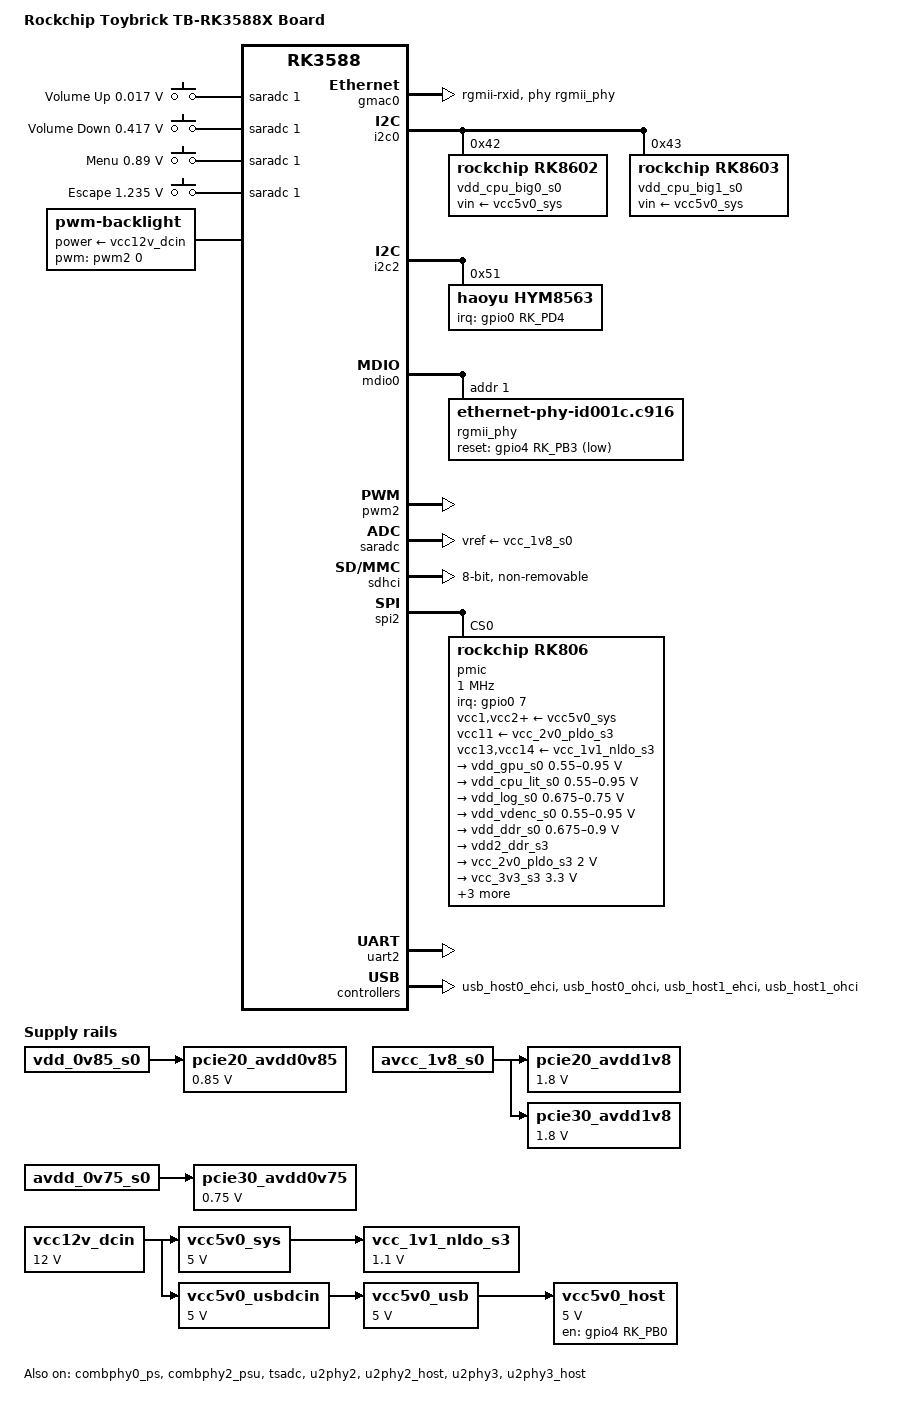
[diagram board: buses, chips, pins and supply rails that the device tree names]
// SPDX-License-Identifier: (GPL-2.0+ OR MIT)
/*
 * Copyright (c) 2024 Rockchip Electronics Co., Ltd.
 *
 */

/dts-v1/;

#include <dt-bindings/gpio/gpio.h>
#include <dt-bindings/input/input.h>
#include <dt-bindings/pinctrl/rockchip.h>
#include "rk3588.dtsi"

/ {
	model = "Rockchip Toybrick TB-RK3588X Board";
	compatible = "rockchip,rk3588-toybrick-x0", "rockchip,rk3588";

	aliases {
		mmc0 = &sdhci;
	};

	chosen {
		stdout-path = "serial2:1500000n8";
	};

	adc-keys {
		compatible = "adc-keys";
		io-channels = <&saradc 1>;
		io-channel-names = "buttons";
		keyup-threshold-microvolt = <1800000>;
		poll-interval = <100>;

		button-vol-up {
			label = "Volume Up";
			linux,code = <KEY_VOLUMEUP>;
			press-threshold-microvolt = <17000>;
		};

		button-vol-down {
			label = "Volume Down";
			linux,code = <KEY_VOLUMEDOWN>;
			press-threshold-microvolt = <417000>;
		};

		button-menu {
			label = "Menu";
			linux,code = <KEY_MENU>;
			press-threshold-microvolt = <890000>;
		};

		button-escape {
			label = "Escape";
			linux,code = <KEY_ESC>;
			press-threshold-microvolt = <1235000>;
		};
	};

	backlight: backlight {
		compatible = "pwm-backlight";
		power-supply = <&vcc12v_dcin>;
		pwms = <&pwm2 0 25000 0>;
	};

	pcie20_avdd0v85: regulator-pcie20-avdd0v85 {
		compatible = "regulator-fixed";
		regulator-name = "pcie20_avdd0v85";
		regulator-always-on;
		regulator-boot-on;
		regulator-min-microvolt = <850000>;
		regulator-max-microvolt = <850000>;
		vin-supply = <&vdd_0v85_s0>;
	};

	pcie20_avdd1v8: regulator-pcie20-avdd1v8 {
		compatible = "regulator-fixed";
		regulator-name = "pcie20_avdd1v8";
		regulator-always-on;
		regulator-boot-on;
		regulator-min-microvolt = <1800000>;
		regulator-max-microvolt = <1800000>;
		vin-supply = <&avcc_1v8_s0>;
	};

	pcie30_avdd0v75: regulator-pcie30-avdd0v75 {
		compatible = "regulator-fixed";
		regulator-name = "pcie30_avdd0v75";
		regulator-always-on;
		regulator-boot-on;
		regulator-min-microvolt = <750000>;
		regulator-max-microvolt = <750000>;
		vin-supply = <&avdd_0v75_s0>;
	};

	pcie30_avdd1v8: regulator-pcie30-avdd1v8 {
		compatible = "regulator-fixed";
		regulator-name = "pcie30_avdd1v8";
		regulator-always-on;
		regulator-boot-on;
		regulator-min-microvolt = <1800000>;
		regulator-max-microvolt = <1800000>;
		vin-supply = <&avcc_1v8_s0>;
	};

	vcc12v_dcin: regulator-vcc12v-dcin {
		compatible = "regulator-fixed";
		regulator-name = "vcc12v_dcin";
		regulator-always-on;
		regulator-boot-on;
		regulator-min-microvolt = <12000000>;
		regulator-max-microvolt = <12000000>;
	};

	vcc5v0_host: regulator-vcc5v0-host {
		compatible = "regulator-fixed";
		enable-active-high;
		gpio = <&gpio4 RK_PB0 GPIO_ACTIVE_HIGH>;
		pinctrl-names = "default";
		pinctrl-0 = <&vcc5v0_host_en>;
		regulator-name = "vcc5v0_host";
		regulator-boot-on;
		regulator-always-on;
		regulator-min-microvolt = <5000000>;
		regulator-max-microvolt = <5000000>;
		vin-supply = <&vcc5v0_usb>;
	};

	vcc5v0_sys: regulator-vcc5v0-sys {
		compatible = "regulator-fixed";
		regulator-name = "vcc5v0_sys";
		regulator-always-on;
		regulator-boot-on;
		regulator-min-microvolt = <5000000>;
		regulator-max-microvolt = <5000000>;
		vin-supply = <&vcc12v_dcin>;
	};

	vcc5v0_usbdcin: regulator-vcc5v0-usbdcin {
		compatible = "regulator-fixed";
		regulator-name = "vcc5v0_usbdcin";
		regulator-always-on;
		regulator-boot-on;
		regulator-min-microvolt = <5000000>;
		regulator-max-microvolt = <5000000>;
		vin-supply = <&vcc12v_dcin>;
	};

	vcc5v0_usb: regulator-vcc5v0-usb {
		compatible = "regulator-fixed";
		regulator-name = "vcc5v0_usb";
		regulator-always-on;
		regulator-boot-on;
		regulator-min-microvolt = <5000000>;
		regulator-max-microvolt = <5000000>;
		vin-supply = <&vcc5v0_usbdcin>;
	};

	vcc_1v1_nldo_s3: regulator-vcc-1v1-nldo-s3 {
		compatible = "regulator-fixed";
		regulator-name = "vcc_1v1_nldo_s3";
		regulator-always-on;
		regulator-boot-on;
		regulator-min-microvolt = <1100000>;
		regulator-max-microvolt = <1100000>;
		vin-supply = <&vcc5v0_sys>;
	};
};

&combphy0_ps {
	status = "okay";
};

&combphy2_psu {
	status = "okay";
};

&cpu_b0 {
	cpu-supply = <&vdd_cpu_big0_s0>;
};

&cpu_b1 {
	cpu-supply = <&vdd_cpu_big0_s0>;
};

&cpu_b2 {
	cpu-supply = <&vdd_cpu_big1_s0>;
};

&cpu_b3 {
	cpu-supply = <&vdd_cpu_big1_s0>;
};

&cpu_l0 {
	cpu-supply = <&vdd_cpu_lit_s0>;
};

&cpu_l1 {
	cpu-supply = <&vdd_cpu_lit_s0>;
};

&cpu_l2 {
	cpu-supply = <&vdd_cpu_lit_s0>;
};

&cpu_l3 {
	cpu-supply = <&vdd_cpu_lit_s0>;
};

&gmac0 {
	clock_in_out = "output";
	phy-handle = <&rgmii_phy>;
	phy-mode = "rgmii-rxid";
	pinctrl-0 = <&gmac0_miim
		     &gmac0_tx_bus2
		     &gmac0_rx_bus2
		     &gmac0_rgmii_clk
		     &gmac0_rgmii_bus>;
	pinctrl-names = "default";
	rx_delay = <0x00>;
	tx_delay = <0x43>;
	status = "okay";
};

&i2c0 {
	pinctrl-names = "default";
	pinctrl-0 = <&i2c0m2_xfer>;
	status = "okay";

	vdd_cpu_big0_s0: regulator@42 {
		compatible = "rockchip,rk8602";
		reg = <0x42>;
		fcs,suspend-voltage-selector = <1>;
		regulator-name = "vdd_cpu_big0_s0";
		regulator-always-on;
		regulator-boot-on;
		regulator-min-microvolt = <550000>;
		regulator-max-microvolt = <1050000>;
		regulator-ramp-delay = <2300>;
		vin-supply = <&vcc5v0_sys>;

		regulator-state-mem {
			regulator-off-in-suspend;
		};
	};

	vdd_cpu_big1_s0: regulator@43 {
		compatible = "rockchip,rk8603", "rockchip,rk8602";
		reg = <0x43>;
		fcs,suspend-voltage-selector = <1>;
		regulator-name = "vdd_cpu_big1_s0";
		regulator-always-on;
		regulator-boot-on;
		regulator-min-microvolt = <550000>;
		regulator-max-microvolt = <1050000>;
		regulator-ramp-delay = <2300>;
		vin-supply = <&vcc5v0_sys>;

		regulator-state-mem {
			regulator-off-in-suspend;
		};
	};
};

&i2c2 {
	status = "okay";

	hym8563: rtc@51 {
		compatible = "haoyu,hym8563";
		reg = <0x51>;
		#clock-cells = <0>;
		clock-output-names = "hym8563";
		interrupt-parent = <&gpio0>;
		interrupts = <RK_PD4 IRQ_TYPE_LEVEL_LOW>;
		pinctrl-names = "default";
		pinctrl-0 = <&hym8563_int>;
		wakeup-source;
	};
};

&mdio0 {
	rgmii_phy: ethernet-phy@1 {
		/* RTL8211F */
		compatible = "ethernet-phy-id001c.c916";
		reg = <0x1>;
		pinctrl-names = "default";
		pinctrl-0 = <&rtl8211f_rst>;
		reset-assert-us = <20000>;
		reset-deassert-us = <100000>;
		reset-gpios = <&gpio4 RK_PB3 GPIO_ACTIVE_LOW>;
	};
};

&pd_gpu {
	domain-supply = <&vdd_gpu_s0>;
};

&pinctrl {
	rtl8211f {
		rtl8211f_rst: rtl8211f-rst {
			rockchip,pins = <4 RK_PB3 RK_FUNC_GPIO &pcfg_pull_none>;
		};

	};

	hym8563 {
		hym8563_int: hym8563-int {
			rockchip,pins = <0 RK_PD4 RK_FUNC_GPIO &pcfg_pull_up>;
		};
	};

	usb {
		vcc5v0_host_en: vcc5v0-host-en {
			rockchip,pins = <4 RK_PB0 RK_FUNC_GPIO &pcfg_pull_none>;
		};
	};
};

&pwm2 {
	status = "okay";
};

&saradc {
	vref-supply = <&vcc_1v8_s0>;
	status = "okay";
};

&sdhci {
	bus-width = <8>;
	mmc-hs400-1_8v;
	mmc-hs400-enhanced-strobe;
	no-sdio;
	no-sd;
	non-removable;
	status = "okay";
};

&spi2 {
	assigned-clocks = <&cru CLK_SPI2>;
	assigned-clock-rates = <200000000>;
	num-cs = <1>;
	pinctrl-names = "default";
	pinctrl-0 = <&spi2m2_cs0 &spi2m2_pins>;
	status = "okay";

	pmic@0 {
		compatible = "rockchip,rk806";
		reg = <0x0>;
		gpio-controller;
		#gpio-cells = <2>;
		interrupt-parent = <&gpio0>;
		interrupts = <7 IRQ_TYPE_LEVEL_LOW>;
		pinctrl-names = "default";
		pinctrl-0 = <&pmic_pins>, <&rk806_dvs1_null>,
			    <&rk806_dvs2_null>, <&rk806_dvs3_null>;
		spi-max-frequency = <1000000>;
		system-power-controller;

		vcc1-supply = <&vcc5v0_sys>;
		vcc2-supply = <&vcc5v0_sys>;
		vcc3-supply = <&vcc5v0_sys>;
		vcc4-supply = <&vcc5v0_sys>;
		vcc5-supply = <&vcc5v0_sys>;
		vcc6-supply = <&vcc5v0_sys>;
		vcc7-supply = <&vcc5v0_sys>;
		vcc8-supply = <&vcc5v0_sys>;
		vcc9-supply = <&vcc5v0_sys>;
		vcc10-supply = <&vcc5v0_sys>;
		vcc11-supply = <&vcc_2v0_pldo_s3>;
		vcc12-supply = <&vcc5v0_sys>;
		vcc13-supply = <&vcc_1v1_nldo_s3>;
		vcc14-supply = <&vcc_1v1_nldo_s3>;
		vcca-supply = <&vcc5v0_sys>;

		rk806_dvs1_null: dvs1-null-pins {
			pins = "gpio_pwrctrl1";
			function = "pin_fun0";
		};

		rk806_dvs2_null: dvs2-null-pins {
			pins = "gpio_pwrctrl2";
			function = "pin_fun0";
		};

		rk806_dvs3_null: dvs3-null-pins {
			pins = "gpio_pwrctrl3";
			function = "pin_fun0";
		};

		regulators {
			vdd_gpu_s0: vdd_gpu_mem_s0: dcdc-reg1 {
				regulator-name = "vdd_gpu_s0";
				regulator-boot-on;
				regulator-enable-ramp-delay = <400>;
				regulator-min-microvolt = <550000>;
				regulator-max-microvolt = <950000>;
				regulator-ramp-delay = <12500>;

				regulator-state-mem {
					regulator-off-in-suspend;
				};
			};

			vdd_cpu_lit_s0: vdd_cpu_lit_mem_s0: dcdc-reg2 {
				regulator-name = "vdd_cpu_lit_s0";
				regulator-always-on;
				regulator-boot-on;
				regulator-min-microvolt = <550000>;
				regulator-max-microvolt = <950000>;
				regulator-ramp-delay = <12500>;

				regulator-state-mem {
					regulator-off-in-suspend;
				};
			};

			vdd_log_s0: dcdc-reg3 {
				regulator-name = "vdd_log_s0";
				regulator-always-on;
				regulator-boot-on;
				regulator-min-microvolt = <675000>;
				regulator-max-microvolt = <750000>;
				regulator-ramp-delay = <12500>;

				regulator-state-mem {
					regulator-off-in-suspend;
					regulator-suspend-microvolt = <750000>;
				};
			};

			vdd_vdenc_s0: vdd_vdenc_mem_s0: dcdc-reg4 {
				regulator-name = "vdd_vdenc_s0";
				regulator-always-on;
				regulator-boot-on;
				regulator-min-microvolt = <550000>;
				regulator-max-microvolt = <950000>;
				regulator-ramp-delay = <12500>;

				regulator-state-mem {
					regulator-off-in-suspend;
				};
			};

			vdd_ddr_s0: dcdc-reg5 {
				regulator-name = "vdd_ddr_s0";
				regulator-always-on;
				regulator-boot-on;
				regulator-min-microvolt = <675000>;
				regulator-max-microvolt = <900000>;
				regulator-ramp-delay = <12500>;

				regulator-state-mem {
					regulator-off-in-suspend;
					regulator-suspend-microvolt = <850000>;
				};
			};

			vdd2_ddr_s3: dcdc-reg6 {
				regulator-name = "vdd2_ddr_s3";
				regulator-always-on;
				regulator-boot-on;

				regulator-state-mem {
					regulator-on-in-suspend;
				};
			};

			vcc_2v0_pldo_s3: dcdc-reg7 {
				regulator-name = "vdd_2v0_pldo_s3";
				regulator-always-on;
				regulator-boot-on;
				regulator-min-microvolt = <2000000>;
				regulator-max-microvolt = <2000000>;

				regulator-state-mem {
					regulator-on-in-suspend;
					regulator-suspend-microvolt = <2000000>;
				};
			};

			vcc_3v3_s3: dcdc-reg8 {
				regulator-name = "vcc_3v3_s3";
				regulator-always-on;
				regulator-boot-on;
				regulator-min-microvolt = <3300000>;
				regulator-max-microvolt = <3300000>;

				regulator-state-mem {
					regulator-on-in-suspend;
					regulator-suspend-microvolt = <3300000>;
				};
			};

			vddq_ddr_s0: dcdc-reg9 {
				regulator-name = "vddq_ddr_s0";
				regulator-always-on;
				regulator-boot-on;

				regulator-state-mem {
					regulator-off-in-suspend;
				};
			};

			vcc_1v8_s3: dcdc-reg10 {
				regulator-name = "vcc_1v8_s3";
				regulator-always-on;
				regulator-boot-on;
				regulator-min-microvolt = <1800000>;
				regulator-max-microvolt = <1800000>;

				regulator-state-mem {
					regulator-on-in-suspend;
					regulator-suspend-microvolt = <1800000>;
				};
			};

			avcc_1v8_s0: pldo-reg1 {
				regulator-name = "avcc_1v8_s0";
				regulator-always-on;
				regulator-boot-on;
				regulator-min-microvolt = <1800000>;
				regulator-max-microvolt = <1800000>;

				regulator-state-mem {
					regulator-off-in-suspend;
				};
			};

			vcc_1v8_s0: pldo-reg2 {
				regulator-name = "vcc_1v8_s0";
				regulator-always-on;
				regulator-boot-on;
				regulator-min-microvolt = <1800000>;
				regulator-max-microvolt = <1800000>;

				regulator-state-mem {
					regulator-off-in-suspend;
					regulator-suspend-microvolt = <1800000>;
				};
			};

			avdd_1v2_s0: pldo-reg3 {
				regulator-name = "avdd_1v2_s0";
				regulator-always-on;
				regulator-boot-on;
				regulator-min-microvolt = <1200000>;
				regulator-max-microvolt = <1200000>;

				regulator-state-mem {
					regulator-off-in-suspend;
				};
			};

			vcc_3v3_s0: pldo-reg4 {
				regulator-name = "vcc_3v3_s0";
				regulator-always-on;
				regulator-boot-on;
				regulator-min-microvolt = <3300000>;
				regulator-max-microvolt = <3300000>;

				regulator-state-mem {
					regulator-off-in-suspend;
				};
			};

			vccio_sd_s0: pldo-reg5 {
				regulator-name = "vccio_sd_s0";
				regulator-always-on;
				regulator-boot-on;
				regulator-min-microvolt = <1800000>;
				regulator-max-microvolt = <3300000>;

				regulator-state-mem {
					regulator-off-in-suspend;
				};
			};

			pldo6_s3: pldo-reg6 {
				regulator-name = "pldo6_s3";
				regulator-always-on;
				regulator-boot-on;
				regulator-min-microvolt = <1800000>;
				regulator-max-microvolt = <1800000>;

				regulator-state-mem {
					regulator-on-in-suspend;
					regulator-suspend-microvolt = <1800000>;
				};
			};

			vdd_0v75_s3: nldo-reg1 {
				regulator-name = "vdd_0v75_s3";
				regulator-always-on;
				regulator-boot-on;
				regulator-min-microvolt = <750000>;
				regulator-max-microvolt = <750000>;

				regulator-state-mem {
					regulator-on-in-suspend;
					regulator-suspend-microvolt = <750000>;
				};
			};

			vdd_ddr_pll_s0: nldo-reg2 {
				regulator-name = "vdd_ddr_pll_s0";
				regulator-always-on;
				regulator-boot-on;
				regulator-min-microvolt = <850000>;
				regulator-max-microvolt = <850000>;

				regulator-state-mem {
					regulator-off-in-suspend;
					regulator-suspend-microvolt = <850000>;
				};
			};

			avdd_0v75_s0: nldo-reg3 {
				regulator-name = "avdd_0v75_s0";
				regulator-always-on;
				regulator-boot-on;
				regulator-min-microvolt = <837500>;
				regulator-max-microvolt = <837500>;

				regulator-state-mem {
					regulator-off-in-suspend;
				};
			};

			vdd_0v85_s0: nldo-reg4 {
				regulator-name = "vdd_0v85_s0";
				regulator-always-on;
				regulator-boot-on;
				regulator-min-microvolt = <850000>;
				regulator-max-microvolt = <850000>;

				regulator-state-mem {
					regulator-off-in-suspend;
				};
			};

			vdd_0v75_s0: nldo-reg5 {
				regulator-name = "vdd_0v75_s0";
				regulator-always-on;
				regulator-boot-on;
				regulator-min-microvolt = <750000>;
				regulator-max-microvolt = <750000>;

				regulator-state-mem {
					regulator-off-in-suspend;
				};
			};
		};
	};
};

&tsadc {
	status = "okay";
};

&u2phy2 {
	status = "okay";
};

&u2phy2_host {
	phy-supply = <&vcc5v0_host>;
	status = "okay";
};

&u2phy3 {
	status = "okay";
};

&u2phy3_host {
	phy-supply = <&vcc5v0_host>;
	status = "okay";
};

&uart2 {
	pinctrl-0 = <&uart2m0_xfer>;
	status = "okay";
};

&usb_host0_ehci {
	status = "okay";
};

&usb_host0_ohci {
	status = "okay";
};

&usb_host1_ehci {
	status = "okay";
};

&usb_host1_ohci {
	status = "okay";
};
